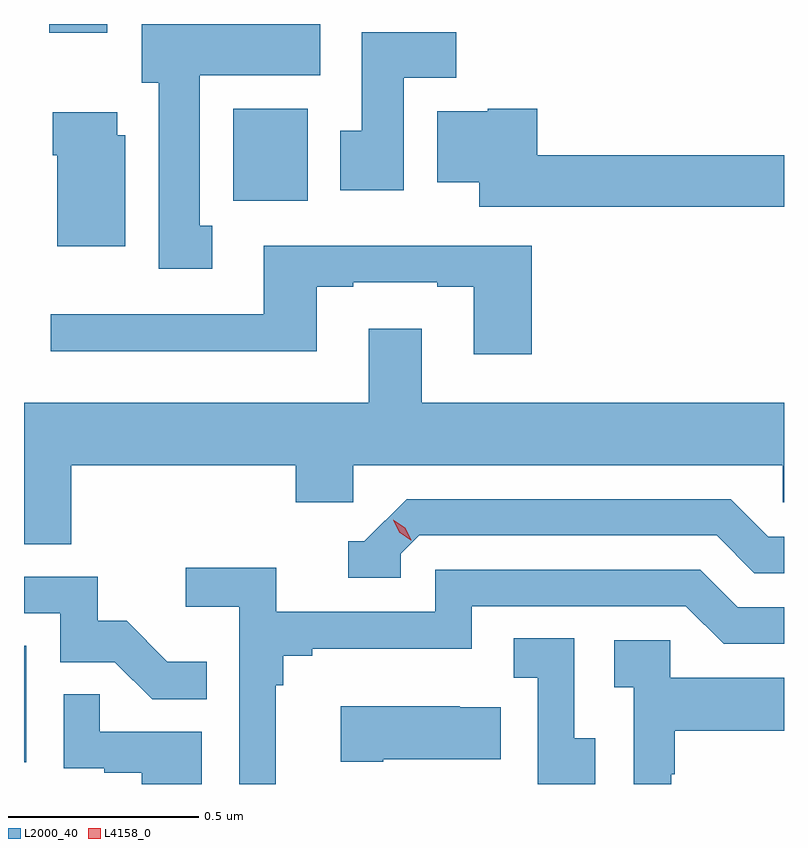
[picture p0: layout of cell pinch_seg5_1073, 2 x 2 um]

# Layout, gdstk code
import gdstk
lib = gdstk.Library(unit=1e-6, precision=1e-09)
def R(c, l, rs):  # rectangles x0, y0, x1, y1
    for r in rs: c.add(gdstk.rectangle(r[:2], r[2:], *l))
def P(c, l, *ps):  # polygons
    for p in ps: c.add(gdstk.Polygon(p, *l))
L2000_40 = (2000, 40)
L4158_0 = (4158, 0)

pinch_seg5_1073 = lib.new_cell('pinch_seg5_1073')
R(pinch_seg5_1073, L2000_40, [(880.318,859.974,880.324,860.281), (880.868,861.452,881.065,861.694), (880.385,861.894,880.537,861.917)])
P(pinch_seg5_1073, L2000_40, [(880.813,861.386),(880.78,861.386),(880.78,861.782),(881.098,861.782),(881.098,861.916),(880.628,861.916),(880.628,861.762),(880.673,861.762),(880.673,861.273),(880.813,861.273)],
  [(881.317,861.776),(881.456,861.776),(881.456,861.895),(881.207,861.895),(881.207,861.636),(881.15,861.636),(881.15,861.48),(881.317,861.48)],
  [(882.318,861.572),(881.669,861.572),(881.669,861.694),(881.538,861.694),(881.538,861.688),(881.405,861.688),(881.405,861.5),(881.516,861.5),(881.516,861.436),(882.318,861.436)],
  [(880.585,861.624),(880.564,861.624),(880.564,861.685),(880.394,861.685),(880.394,861.572),(880.406,861.572),(880.406,861.332),(880.585,861.332)],
  [(881.654,861.334),(880.949,861.334),(880.949,861.153),(880.389,861.153),(880.389,861.056),(881.089,861.056),(881.089,861.225),(881.185,861.225),(881.185,861.237),(881.405,861.237),(881.405,861.225),(881.501,861.225),(881.501,861.048),(881.654,861.048)],
  [(880.442,860.756),(881.033,860.756),(881.033,860.658),(881.184,860.658),(881.184,860.756),(882.315,860.756),(882.315,860.658),(882.318,860.658),(882.318,860.92),(881.365,860.92),(881.365,861.115),(881.225,861.115),(881.225,860.92),(880.318,860.92),(880.318,860.548),(880.442,860.548)],
  [(881.31,860.523),(881.358,860.571),(882.141,860.571),(882.24,860.472),(882.318,860.472),(882.318,860.568),(882.277,860.568),(882.178,860.667),(881.325,860.667),(881.214,860.556),(881.171,860.556),(881.171,860.46),(881.31,860.46)],
  [(880.981,860.177),(881,860.177),(881,860.254),(881.077,860.254),(881.077,860.273),(881.496,860.273),(881.496,860.385),(882.06,860.385),(882.159,860.286),(882.318,860.286),(882.318,860.382),(882.196,860.382),(882.097,860.481),(881.4,860.481),(881.4,860.37),(880.982,860.37),(880.982,860.486),(880.743,860.486),(880.743,860.384),(880.884,860.384),(880.884,859.917),(880.981,859.917)],
  [(880.799,860.239),(880.695,860.239),(880.588,860.346),(880.512,860.346),(880.512,860.463),(880.318,860.463),(880.318,860.367),(880.413,860.367),(880.413,860.238),(880.557,860.238),(880.655,860.14),(880.799,860.14)],
  [(881.821,860.037),(881.766,860.037),(881.766,860.3),(881.607,860.3),(881.607,860.197),(881.67,860.197),(881.67,859.917),(881.821,859.917)],
  [(882.021,859.943),(882.031,859.943),(882.031,860.057),(882.318,860.057),(882.318,860.197),(882.018,860.197),(882.018,860.295),(881.871,860.295),(881.871,860.171),(881.922,860.171),(881.922,859.917),(882.021,859.917)],
  [(880.786,860.055),(880.517,860.055),(880.517,860.153),(880.422,860.153),(880.422,859.959),(880.529,859.959),(880.529,859.947),(880.628,859.947),(880.628,859.917),(880.786,859.917)],
  [(881.263,859.982),(881.573,859.982),(881.573,860.119),(881.465,860.119),(881.465,860.122),(881.151,860.122),(881.151,859.975),(881.263,859.975)])
P(pinch_seg5_1073, L4158_0, [(881.336,860.559),(881.306,860.579),(881.29,860.612),(881.29,860.612),(881.29,860.612),(881.321,860.592),(881.337,860.56),(881.337,860.559)])

lib.write_gds('pinch_seg5_1073.gds')
